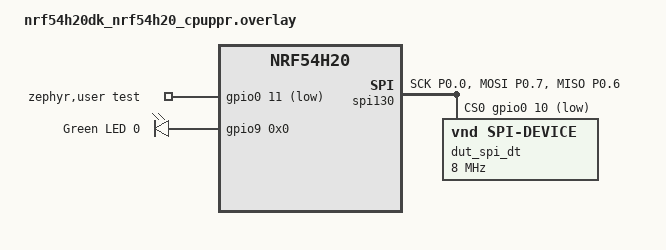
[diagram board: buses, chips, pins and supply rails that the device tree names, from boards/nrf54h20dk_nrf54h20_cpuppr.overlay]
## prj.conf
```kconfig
CONFIG_SPI=y
CONFIG_GPIO=y

CONFIG_PM=y
CONFIG_PM_DEVICE=y
CONFIG_PM_DEVICE_RUNTIME=y
CONFIG_POWEROFF=y

CONFIG_BOOT_BANNER=n
CONFIG_NCS_BOOT_BANNER=n
# CONFIG_ASSERT=y

# Enable for debugging purposes only
CONFIG_PRINTK=n
CONFIG_LOG=n
CONFIG_CONSOLE=n
CONFIG_UART_CONSOLE=n
CONFIG_SERIAL=n
```

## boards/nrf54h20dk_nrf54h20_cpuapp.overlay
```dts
/*
 * Copyright (c) 2024 Nordic Semiconductor ASA
 *
 * SPDX-License-Identifier: LicenseRef-Nordic-5-Clause
 */

/* Test requires two wire connections:
 *  - SPIM_MOSI with SPIM_MISO -> P0.07 - P0.06;
 *  - SPI cs-gpios with test-gpios -> P0.10 - P0.11.
 * Test-gpios and cs-gpios must have identical active level flag.
 */

/ {
	aliases {
		led = &led0;
		/delete-property/ led1;
	};

	zephyr,user {
		test-gpios = <&gpio0 11 GPIO_ACTIVE_LOW>;
	};
};

/delete-node/ &led1;

&gpiote130 {
	status = "okay";
	owned-channels = <0>;
};

&pinctrl {
	spi130_default_alt: spi130_default_alt {
		group1 {
			psels = <NRF_PSEL(SPIM_SCK, 0, 0)>,
				<NRF_PSEL(SPIM_MOSI, 0, 7)>,
				<NRF_PSEL(SPIM_MISO, 0, 6)>;
		};
	};

	spi130_sleep_alt: spi130_sleep_alt {
		group1 {
			psels = <NRF_PSEL(SPIM_SCK, 0, 0)>,
				<NRF_PSEL(SPIM_MISO, 0, 6)>,
				<NRF_PSEL(SPIM_MOSI, 0, 7)>;
			low-power-enable;
		};
	};
};

&spi130 {
	compatible = "nordic,nrf-spim";
	status = "okay";
	pinctrl-0 = <&spi130_default_alt>;
	pinctrl-1 = <&spi130_sleep_alt>;
	pinctrl-names = "default", "sleep";
	overrun-character = <0x00>;
	memory-regions = <&cpuapp_dma_region>;
	cs-gpios = <&gpio0 10 GPIO_ACTIVE_LOW>;
	zephyr,pm-device-runtime-auto;

	dut_spi_dt: test-spi-dev@0 {
		compatible = "vnd,spi-device";
		reg = <0>;
		spi-max-frequency = <DT_FREQ_M(8)>;
	};
};
```

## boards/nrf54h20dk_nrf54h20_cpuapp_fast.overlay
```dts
/*
 * Copyright (c) 2024 Nordic Semiconductor ASA
 *
 * SPDX-License-Identifier: LicenseRef-Nordic-5-Clause
 */

/* Test requires two wire connections:
 *  - SPIM_MOSI with SPIM_MISO -> P7.06 - P7.07;
 *  - SPI cs-gpios with test-gpios -> P0.10 - P0.11.
 * Test-gpios and cs-gpios must have identical active level flag.
 */

/ {
	aliases {
		led = &led0;
		/delete-property/ led1;
	};

	zephyr,user {
		test-gpios = <&gpio0 11 GPIO_ACTIVE_HIGH>;
	};
};

/delete-node/ &led1;

&gpiote130 {
	status = "okay";
	owned-channels = <0>;
};

&pinctrl {
	spi120_default: spi120_default {
		group1 {
			psels = <NRF_PSEL(SPIM_SCK, 7, 3)>,
				<NRF_PSEL(SPIM_MISO, 7, 6)>,
				<NRF_PSEL(SPIM_MOSI, 7, 7)>;
		};
	};

	spi120_sleep: spi120_sleep {
		group1 {
			psels = <NRF_PSEL(SPIM_SCK, 7, 3)>,
				<NRF_PSEL(SPIM_MISO, 7, 6)>,
				<NRF_PSEL(SPIM_MOSI, 7, 7)>;
			low-power-enable;
		};
	};
};

&spi130 {
	status = "disabled";
	/delete-property/ dut_spi_dt;
};

&spi120 {
	compatible = "nordic,nrf-spim";
	status = "okay";
	pinctrl-0 = <&spi120_default>;
	pinctrl-1 = <&spi120_sleep>;
	pinctrl-names = "default", "sleep";
	overrun-character = <0x00>;
	memory-regions = <&dma_fast_region>;
	cs-gpios = <&gpio0 10 GPIO_ACTIVE_HIGH>;
	zephyr,pm-device-runtime-auto;

	dut_spi_dt: test-spi-dev@0 {
		compatible = "vnd,spi-device";
		reg = <0>;
		spi-max-frequency = <DT_FREQ_M(8)>;
	};
};

&dma_fast_region {
	status = "okay";
};
```

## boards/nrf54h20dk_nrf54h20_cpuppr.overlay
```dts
/*
 * Copyright (c) 2025 Nordic Semiconductor ASA
 *
 * SPDX-License-Identifier: LicenseRef-Nordic-5-Clause
 */

/* Test requires two wire connections:
 *  - SPIM_MOSI with SPIM_MISO -> P0.07 - P0.06;
 *  - SPI cs-gpios with test-gpios -> P0.10 - P0.11.
 * Test-gpios and cs-gpios must have identical active level flag.
 */

/ {
	zephyr,user {
		test-gpios = <&gpio0 11 GPIO_ACTIVE_LOW>;
	};

	aliases {
		led = &led0;
	};

	leds {
		compatible = "gpio-leds";

		led0: led_0 {
			gpios = <&gpio9 0x0 0x0>;
			label = "Green LED 0";
		};
	};

	cpus {
		power-states {
			wait: wait {
				compatible = "zephyr,power-state";
				power-state-name = "standby";
				substate-id = <0>;
				min-residency-us = <20000>;
			};

			hibernate: hibernate {
				compatible = "zephyr,power-state";
				power-state-name = "suspend-to-ram";
				substate-id = <0>;
				min-residency-us = <400000>;
			};
		};
	};
};

&cpu {
	cpu-power-states = <&wait &hibernate>;
};

&gpio0 {
	status = "okay";
};

&gpio9 {
	status = "okay";
};

&gpiote130 {
	status = "okay";
	owned-channels = <7>;
};

&pinctrl {
	spi130_default_alt: spi130_default_alt {
		group1 {
			psels = <NRF_PSEL(SPIM_SCK, 0, 0)>,
				<NRF_PSEL(SPIM_MOSI, 0, 7)>,
				<NRF_PSEL(SPIM_MISO, 0, 6)>;
		};
	};

	spi130_sleep_alt: spi130_sleep_alt {
		group1 {
			psels = <NRF_PSEL(SPIM_SCK, 0, 0)>,
				<NRF_PSEL(SPIM_MISO, 0, 6)>,
				<NRF_PSEL(SPIM_MOSI, 0, 7)>;
			low-power-enable;
		};
	};
};

&spi130 {
	compatible = "nordic,nrf-spim";
	status = "okay";
	pinctrl-0 = <&spi130_default_alt>;
	pinctrl-1 = <&spi130_sleep_alt>;
	pinctrl-names = "default", "sleep";
	overrun-character = <0x00>;
	cs-gpios = <&gpio0 10 GPIO_ACTIVE_LOW>;

	dut_spi_dt: test-spi-dev@0 {
		compatible = "vnd,spi-device";
		reg = <0>;
		spi-max-frequency = <DT_FREQ_M(8)>;
	};
};
```

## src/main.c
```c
/*
 * Copyright (c) 2024 Nordic Semiconductor ASA
 *
 * SPDX-License-Identifier: LicenseRef-Nordic-5-Clause
 */

#include <zephyr/logging/log.h>
LOG_MODULE_REGISTER(idle_spim_loopback, LOG_LEVEL_INF);

#include <zephyr/kernel.h>
#include <zephyr/drivers/gpio.h>
#include <zephyr/drivers/spi.h>
#include <zephyr/linker/devicetree_regions.h>
#include <zephyr/pm/device_runtime.h>

static const struct gpio_dt_spec led = GPIO_DT_SPEC_GET(DT_ALIAS(led), gpios);

#define DELTA (1)

#define SPI_MODE_DEFAULT                                                                           \
	(SPI_OP_MODE_MASTER | SPI_WORD_SET(8) | SPI_LINES_SINGLE | SPI_TRANSFER_MSB |              \
	 SPI_MODE_CPHA | SPI_MODE_CPOL)

#if defined(CONFIG_TEST_SPI_HOLD_ON_CS) && defined(CONFIG_TEST_SPI_LOCK_ON)
#define SPI_MODE (SPI_MODE_DEFAULT | SPI_HOLD_ON_CS | SPI_LOCK_ON)
#elif defined(CONFIG_TEST_SPI_HOLD_ON_CS) && !defined(CONFIG_TEST_SPI_LOCK_ON)
#define SPI_MODE (SPI_MODE_DEFAULT | SPI_HOLD_ON_CS)
#elif !defined(CONFIG_TEST_SPI_HOLD_ON_CS) && defined(CONFIG_TEST_SPI_LOCK_ON)
#define SPI_MODE (SPI_MODE_DEFAULT | SPI_LOCK_ON)
#else
#define SPI_MODE (SPI_MODE_DEFAULT)
#endif

#if CONFIG_DATA_FIELD == 4
#if DT_PROP(DT_BUS(DT_NODELABEL(dut_spi_dt)), max_frequency) == 32000000
/* fast instance */
#define EXPECTED_TRANSCEIVE_COUNT 13700
#else
/* slow instance */
#define EXPECTED_TRANSCEIVE_COUNT 12500
#endif
#endif

#if CONFIG_DATA_FIELD == 16
#if DT_PROP(DT_BUS(DT_NODELABEL(dut_spi_dt)), max_frequency) == 32000000
/* fast instance */
#define EXPECTED_TRANSCEIVE_COUNT 8800
#else
/* slow instance */
#define EXPECTED_TRANSCEIVE_COUNT 8450
#endif
#endif

static struct spi_dt_spec spim_spec = SPI_DT_SPEC_GET(DT_NODELABEL(dut_spi_dt), SPI_MODE, 0);

static const struct gpio_dt_spec pin_in = GPIO_DT_SPEC_GET(DT_PATH(zephyr_user), test_gpios);

#define MEMORY_SECTION(node)                                                                       \
	COND_CODE_1(DT_NODE_HAS_PROP(node, memory_regions),                                        \
		    (__attribute__((__section__(                                                   \
			    LINKER_DT_NODE_REGION_NAME(DT_PHANDLE(node, memory_regions)))))),      \
		    ())

static uint8_t spim_buffer[2 * CONFIG_DATA_FIELD] MEMORY_SECTION(DT_BUS(DT_NODELABEL(dut_spi_dt)));

/* Variables used to count edges on SPI CS */
static struct gpio_callback gpio_input_cb_data;
static volatile uint32_t high, low;

/* Variables used to make SPI active for ~1 second */
static struct k_timer my_timer;
static volatile bool timer_expired;

void my_timer_handler(struct k_timer *dummy)
{
	timer_expired = true;
}

void gpio_input_edge_callback(const struct device *dev, struct gpio_callback *cb, uint32_t pins)
{
	uint32_t pin = 0;

	while (pins >>= 1) {
		pin++;
	}

	/* Get pin RAW to confirm pin polarity */
	if (gpio_pin_get_raw(dev, pin)) {
		high++;
	} else {
		low++;
	}
}

int main(void)
{
	int ret;
	uint32_t loop_counter = 0;
	uint32_t transceive_counter;
	uint8_t switch_flag;
	uint8_t acc = 0;
	bool test_pass;
	int test_repetitions = 3;

	/* SPI buffer sets */
	struct spi_buf tx_spi_buf = {.buf = &spim_buffer[0], .len = CONFIG_DATA_FIELD};
	struct spi_buf_set tx_spi_buf_set = {.buffers = &tx_spi_buf, .count = 1};

	struct spi_buf rx_spi_buf = {.buf = &spim_buffer[CONFIG_DATA_FIELD],
				     .len = CONFIG_DATA_FIELD};
	struct spi_buf_set rx_spi_buf_set = {.buffers = &rx_spi_buf, .count = 1};

	ret = gpio_is_ready_dt(&led);
	__ASSERT(ret, "Error: GPIO Device not ready");

	ret = gpio_pin_configure_dt(&led, GPIO_OUTPUT_ACTIVE);
	__ASSERT(ret == 0, "Could not configure led GPIO");

	LOG_INF("Multicore idle_spi_loopback test on %s", CONFIG_BOARD_TARGET);
	LOG_INF("Core will sleep for %u ms", CONFIG_TEST_SLEEP_DURATION_MS);
	LOG_INF("Testing SPIM device %s", spim_spec.bus->name);
	LOG_INF("GPIO loopback at %s, pin %d", pin_in.port->name, pin_in.pin);
	LOG_INF("%d bytes of data exchanged at once", CONFIG_DATA_FIELD);
	// LOG_INF("Expect at least %d transceives during one run", EXPECTED_TRANSCEIVE_COUNT);
#if defined(CONFIG_TEST_SPI_HOLD_ON_CS)
	LOG_INF("SPI CS lock enabled");
#endif
#if defined(CONFIG_TEST_SPI_LOCK_ON)
	LOG_INF("SPI LOCK enabled");
#endif
#if !defined(CONFIG_TEST_SPI_RELEASE_BEFORE_SLEEP)
	LOG_INF("SPI is never released");
#endif
	LOG_INF("===================================================================");

	/* Arbitrary sleep to fix CI synchronization. */
	k_msleep(100);

	ret = spi_is_ready_dt(&spim_spec);
	if (!ret) {
		LOG_ERR("Error: SPI device is not ready");
	}
	__ASSERT_NO_MSG(ret);

	ret = gpio_is_ready_dt(&pin_in);
	if (!ret) {
		LOG_ERR("Device %s is not ready.", pin_in.port->name);
	}
	__ASSERT_NO_MSG(ret);

	/* Configure gpio and init GPIOTE callback. */
	ret = gpio_pin_configure_dt(&pin_in, GPIO_INPUT);
	if (ret) {
		LOG_ERR("gpio_pin_configure_dt() has failed (%d)", ret);
	}
	__ASSERT_NO_MSG(ret == 0);

	gpio_init_callback(&gpio_input_cb_data, gpio_input_edge_callback, BIT(pin_in.pin));

	k_timer_init(&my_timer, my_timer_handler, NULL);

#if defined(CONFIG_COVERAGE)
	printk("Coverage analysis enabled\n");
	while (test_repetitions--)
#else
	/* Run test forever. */
	while (test_repetitions)
#endif
	{
		switch_flag = 1;
		test_pass = true;
		timer_expired = false;

		/* Clear counters. */
		high = 0;
		low = 0;
		transceive_counter = 0;

		/* Start a one-shot timer that expires after 1 second. */
		k_timer_start(&my_timer, K_MSEC(1000), K_NO_WAIT);

		/* Configure and enable GPIOTE. */
		ret = gpio_pin_interrupt_configure_dt(&pin_in, GPIO_INT_EDGE_BOTH);
		if (ret) {
			LOG_ERR("gpio_pin_interrupt_configure_dt() has failed (%d)", ret);
		}
		__ASSERT_NO_MSG(ret == 0);

		ret = gpio_add_callback(pin_in.port, &gpio_input_cb_data);
		if (ret) {
			LOG_ERR("gpio_add_callback() has failed (%d)", ret);
		}
		__ASSERT_NO_MSG(ret == 0);

		/* SPI active transmissions for ~ 1 second. */
		// while (!timer_expired) {
			/* Generate pseudo random tx_data for current test. */
			for (int i = 0; i < CONFIG_DATA_FIELD; i++) {
				*((uint8_t *)tx_spi_buf.buf + i) = acc;
				acc += DELTA;
			}

			/* Transmit data. */
			ret = spi_transceive_dt(&spim_spec, &tx_spi_buf_set, &rx_spi_buf_set);
			if (ret == 0) {
				transceive_counter++;
			} else {
				LOG_ERR("spi_transceive_dt, err: %d", ret);
			}

			__ASSERT(ret == 0, "Error: spi_transceive_dt, err: %d\n", ret);

			/* Check if the received data is consistent with the data sent. */
			for (int i = 0; i < CONFIG_DATA_FIELD; i++) {
				uint8_t received = *((uint8_t *)rx_spi_buf.buf + i);
				uint8_t transmitted = *((uint8_t *)tx_spi_buf.buf + i);

				if (received != transmitted) {
					LOG_ERR("FAIL: rx[%d] = %d, expected %d", i, received,
						transmitted);
					test_pass = false;
					__ASSERT(false, "Run %d - FAILED\n", loop_counter);
				}
			}

#if defined(CONFIG_TEST_SPI_HOLD_ON_CS)
			/* At least one SPI transmission has already happened.
			 * When SPI is configured with SPI_HOLD_ON_CS
			 * then SPI CS signal shall be active here.
			 */
			int temp_pin_value = gpio_pin_get_raw(pin_in.port, pin_in.pin);
			int expected_pin_value;

			if (pin_in.dt_flags & GPIO_ACTIVE_LOW) {
				/* GPIO_ACTIVE_LOW */
				expected_pin_value = 0;
			} else {
				/* GPIO_ACTIVE_HIGH */
				expected_pin_value = 1;
			}

			if (temp_pin_value != expected_pin_value) {
				LOG_ERR("SPI CS signal is %d, while expected is %d", temp_pin_value,
					expected_pin_value);
			}
			__ASSERT_NO_MSG(temp_pin_value == expected_pin_value);
#endif
		// } /* while (!timer_expired) */

#if defined(CONFIG_TEST_SPI_RELEASE_BEFORE_SLEEP)
		/* Release SPI Chip Select / SPI device. */
		ret = spi_release_dt(&spim_spec);
		if (ret != 0) {
			LOG_ERR("spi_release_dt(), err: %d", ret);
		}
		__ASSERT_NO_MSG(ret == 0);
#endif

		/* Disable GPIOTE interrupt. */
		ret = gpio_remove_callback(pin_in.port, &gpio_input_cb_data);
		if (ret) {
			LOG_ERR("gpio_remove_callback() has failed (%d)", ret);
		}
		__ASSERT_NO_MSG(ret == 0);

		ret = gpio_pin_interrupt_configure_dt(
			&pin_in, GPIO_INT_DISABLE | GPIO_INT_LEVELS_LOGICAL | GPIO_INT_HIGH_1);
		if (ret) {
			LOG_ERR("gpio_pin_interrupt_configure_dt() has failed (%d)", ret);
		}
		__ASSERT_NO_MSG(ret == 0);

		// if (transceive_counter < EXPECTED_TRANSCEIVE_COUNT) {
		// 	test_pass = false;
		// }

		/* Report if communication was successful. */
		if (test_pass) {
			LOG_INF("Run %d - PASS; transceives: %u, CS rising: %u, falling %u",
				loop_counter, transceive_counter, high, low);
		} else {
			LOG_INF("Run %d - FAILED; transceives: %u, CS rising: %u, falling %u",
				loop_counter, transceive_counter, high, low);
		}

#if defined(CONFIG_TEST_SPI_HOLD_ON_CS)
		/* When SPI is configured with SPI_HOLD_ON_CS:
		 * - first spi_transceive_dt() activates SPI CS signal;
		 * - following spi_transceive_dt() calls don't change SPI CS state;
		 * - SPI CS signal is deactivated by spi_release_dt().
		 */
#if defined(CONFIG_TEST_SPI_RELEASE_BEFORE_SLEEP)
		/* Every test iteration will see one SPI CS activation and one deactivation. */
		__ASSERT_NO_MSG(high == 1);
		__ASSERT_NO_MSG(low == 1);
#else  /* defined(CONFIG_TEST_SPI_RELEASE_BEFORE_SLEEP) */
		/* SPI CS gets activated in the first iteration and stays active forever. */
		if (loop_counter == 0) {
			/* Observed edge depends on GPIO polarity. */
			if (pin_in.dt_flags & GPIO_ACTIVE_LOW) {
				/* GPIO_ACTIVE_LOW */
				__ASSERT_NO_MSG(high == 0);
				__ASSERT_NO_MSG(low == 1);
			} else {
				/* GPIO_ACTIVE_HIGH */
				__ASSERT_NO_MSG(high == 1);
				__ASSERT_NO_MSG(low == 0);
			}
		} else {
			__ASSERT_NO_MSG(high == 0);
			__ASSERT_NO_MSG(low == 0);
		}
#endif /* defined(CONFIG_TEST_SPI_RELEASE_BEFORE_SLEEP) */
#else
		/* SPI was active for ~1 second with separate SPI CS activations
		 * for each spi_transceive_dt() call.
		 */
#if !defined(CONFIG_SOC_NRF54H20_CPUPPR)
		/* Workaround for GPIOTE interrupts not routed to PPR (NCSDK-35979).
		 * Skip checking number of SPI CS edges on nrf54H20 cpuppr.
		 */
		__ASSERT_NO_MSG(high >= 100);
		__ASSERT_NO_MSG(low >= 100);
#endif /* !defined(CONFIG_SOC_NRF54H20_CPUPPR) */
		__ASSERT_NO_MSG(low == high);
#endif
		loop_counter++;

		/* Sleep / enter low power state. */
		gpio_pin_set_dt(&led, 0);
		k_msleep(CONFIG_TEST_SLEEP_DURATION_MS);
		gpio_pin_set_dt(&led, 1);
	}

#if defined(CONFIG_COVERAGE)
	printk("Coverage analysis start\n");
#endif
	return 0;
}
```
